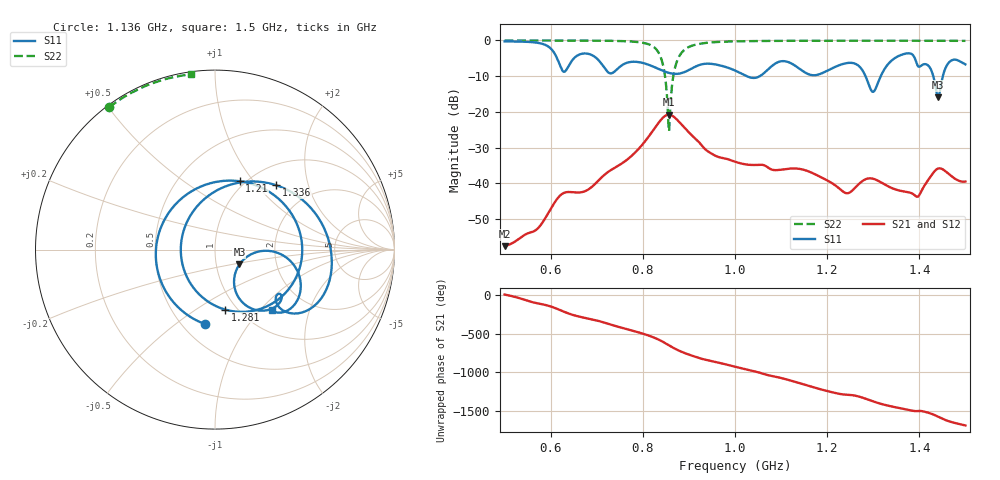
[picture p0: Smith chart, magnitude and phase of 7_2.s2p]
! TOUCHSTONE file generated by CST MICROWAVE STUDIO
! Date and time: Thu Feb 11 19:31:41 2021
! Project name: Scenario_1_Planar_Body_Tissue_Out_of_Line.cst
! Parameters = {L_HA=400; Ltissue=1000; MT=2.54; Rad_Dielectric=30; Rad_Lower=7.3; Rad_Upper=30; Wtissue=1000; a_HA=580; a_WG=246; b_HA=500; b_WG=121; c_HA=0; c_WG=187; d_feed=85; dx1=346; dy1=-242.2; h_feed=15; h_lower=18; h_upper=40; hfat=3; hgap=25; hmuscle=50; hskin=1.5}
! Header version: 2018
! Port assignment regex: !\s*Touchstone port\s*([0-9]+)\s*=\s*(CST MWS port|CST DS port)\s*([0-9]+|Zmin|Zmax)\s*\(\"(.*)\"\)(\s*mode\s*([0-9]+))?.*
! Touchstone port assignment:
! Touchstone port 1 = CST MWS port 1 ("")
! Touchstone port 2 = CST MWS port 2 ("")
# GHz S DB R 50
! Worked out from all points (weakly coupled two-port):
!   1003 points, 500 MHz to 1.5 GHz, reference 50 ohm
!   highest |S21| = -20.80 dB at 856 MHz (marker M1); lowest = -57.6 dB at 500 MHz (marker M2)
!   lowest |S11| = -16.0 dB at 1.441 GHz (marker M3), VSWR 1.38, Z = 64.7 - j10.9 ohm
!   |S11| at or under -10 dB: 1.025 GHz to 1.054 GHz (28.77 MHz wide, 2.77 % of centre); 1.283 GHz to 1.316 GHz (33.18 MHz wide, 2.55 % of centre); 1.43 GHz to 1.451 GHz (20.81 MHz wide, 1.44 % of centre)
!   |S22| runs from -25.4 to 0.0 dB; largest |S21 - S12| = 4.2e-06
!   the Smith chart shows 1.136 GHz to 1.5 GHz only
!   S11 on the Smith chart (normalised r, x): 1.136 GHz: 0.64, -0.65; 1.21 GHz: 0.94, +0.86; 1.281 GHz: 0.88, -0.67; 1.336 GHz: 1.34, +1.28; 1.5 GHz: 1.36, -1.16
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0.5  -0.27 -121.7  -57.59 10.2  -57.59 10.2  -0.01 151.1
0.667  -3.75 158.5  -42.49 77.2  -42.49 77.2  -0.04 138.4
0.718  -7.93 25.0  -37.47 3.3  -37.47 3.3  -0.09 132.5
0.742  -8.32 -96.0  -35.42 -40.2  -35.42 -40.2  -0.14 128.9
0.771  -6.07 175.4  -32.84 -87.6  -32.84 -87.6  -0.28 122.8
0.834  -7.97 37.5  -23.08 146.6  -23.08 146.6  -3.38 81.9
0.856  -9.07 -19.3  -20.80 74.3  -20.80 74.3  -24.59 -21.0
0.908  -7.73 -178.4  -26.77 -64.7  -26.77 -64.7  -1.42 163.0
0.939  -6.50 84.7  -30.85 -118.6  -30.85 -118.6  -0.66 151.6
1  -8.41 -62.9  -33.95 154.8  -33.95 154.8  -0.26 140.1
1.043  -10.49 -178.4  -34.87 94.2  -34.87 94.2  -0.18 135.1
1.076  -7.61 76.2  -35.95 39.3  -35.95 39.3  -0.14 131.9
1.103  -5.79 -5.1  -36.13 4.2  -36.13 4.2  -0.12 129.4
1.136  -7.56 -97.5  -35.89 -51.6  -35.89 -51.6  -0.11 126.6
1.167  -9.72 173.0  -37.06 -107.3  -37.06 -107.3  -0.10 124.2
1.21  -7.85 70.2  -39.91 -175.1  -39.91 -175.1  -0.09 120.9
1.281  -9.39 -80.3  -39.00 105.3  -39.00 105.3  -0.08 115.5
1.334  -6.38 50.0  -40.95 7.5  -40.95 7.5  -0.08 111.5
1.336  -6.10 46.3  -41.08 4.8  -41.08 4.8  -0.08 111.3
1.388  -4.42 -35.5  -43.15 -58.6  -43.15 -58.6  -0.09 107.3
1.441  -15.96 -31.1  -35.85 -134.1  -35.85 -134.1  -0.11 103.0
1.5  -6.71 -46.6  -39.51 113.4  -39.52 113.4  -0.12 97.9
